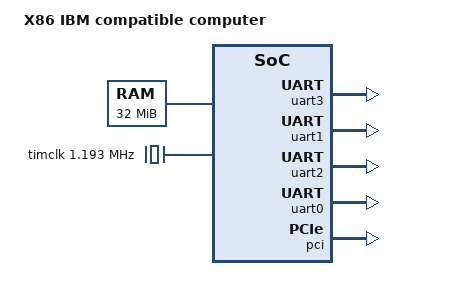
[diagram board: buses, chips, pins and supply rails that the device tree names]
/* SPDX-License-Identifier: GPL-2.0-or-later */
/*
 * Copyright(c) 2021 Sanpe <sanpeqf@gmail.com>
 */

/dts-v1/;

/ {
    model = "X86 IBM compatible computer";
    #address-cells = <1>;
    #size-cells = <1>;

    chosen { };

    memory@0 {
        device_type = "memory";
        reg = <0x00000000 0x02000000>;
    };

    clocks {
        timclk: clk-1M {
            #clock-cells = <0>;
            compatible = "fixed-clock";
            clock-frequency = <1193182>;
        };
    };

    isa {
        #address-cells = <1>;
        #size-cells = <1>;
        compatible = "isa-bus";

        dma0: dma-controller@0 {
            #dma-cells = <1>;
            compatible = "intel,i8237";
            reg = <0x0000 0x20>;
            page = <0x0087>, <0x0083>,
                   <0x0081>, <0x0082>;
        };

        pic0: interrupt-controller@20 {
            #interrupt-cells = <1>;
            #address-cells = <0>;
            compatible = "intel,i8259";
            reg = <0x0020 0x20>;
            interrupt-controller;
        };

        timer@42 {
            compatible = "intel,i8253";
            reg = <0x0040 0x20>;
            interrupt-parent = <&pic0>;
            interrupts = <0>;
            clocks = <&timclk>;
        };

        ps2@60 {
            compatible = "intel,i8042";
            reg = <0x0060 0x08>;
            interrupt-names = "kbd", "aux";
            interrupts-extended = <&pic0 1>, <&pic1 4>;
        };

        rtc@71 {
            compatible = "motorola,mc146818";
            reg = <0x0070 0x08>;
            interrupt-parent = <&pic1>;
            interrupts = <0>;
        };

        pic1: interrupt-controller@a0 {
            #interrupt-cells = <1>;
            #address-cells = <0>;
            compatible = "intel,i8259";
            reg = <0x00a0 0x20>;
            interrupt-controller;
            interrupt-parent = <&pic0>;
            interrupts = <2>;
        };

        dma1: dma-controller@c0 {
            #dma-cells = <1>;
            compatible = "intel,i8237";
            reg = <0x00c0 0x10>;
            page = <0x008f>, <0x008b>,
                   <0x0089>, <0x008a>;
        };

        lpt1: parallel@278 {
            compatible = "intel,i8255";
            reg = <0x0278 0x08>;
            interrupt-parent = <&pic0>;
            interrupts = <5>;
        };

        uart3: serial@2e8 {
            compatible = "intel,i8250";
            reg = <0x02e8 0x08>;
            interrupt-parent = <&pic0>;
            interrupts = <3>;
        };

        uart1: serial@2f8 {
            compatible = "intel,i8250";
            reg = <0x02f8 0x08>;
            interrupt-parent = <&pic0>;
            interrupts = <3>;
        };

        fdc1: floppy@370 {
            compatible = "ibm,generic-floppy";
            reg = <0x0370 0x08>;
            interrupt-parent = <&pic0>;
            interrupts = <6>;
            dmas = <&dma0 2>;
        };

        lpt0: parallel@378 {
            compatible = "intel,i8255";
            reg = <0x0378 0x08>;
            interrupt-parent = <&pic0>;
            interrupts = <7>;
        };

        lpt3: parallel@3bc {
            compatible = "intel,i8255";
            reg = <0x03bc 0x08>;
        };

        uart2: serial@3e8 {
            compatible = "intel,i8250";
            reg = <0x03e8 0x08>;
            interrupt-parent = <&pic0>;
            interrupts = <4>;
        };

        fdc0: floppy@3f0 {
            compatible = "ibm,generic-floppy";
            reg = <0x03f0 0x08>;
            interrupt-parent = <&pic0>;
            interrupts = <6>;
            dmas = <&dma0 2>;
        };

        uart0: serial@3f8 {
            compatible = "intel,i8250";
            reg = <0x03f8 0x08>;
            interrupt-parent = <&pic0>;
            interrupts = <4>;
        };

        pci: pci@c00 {
            compatible = "intel,i386-pci";
            reg = <0x0c00 0x10>;
        };

        power@cf9 {
            compatible = "intel,piix-power";
            reg = <0x0cf9 0x01>;
        };
    };
};
